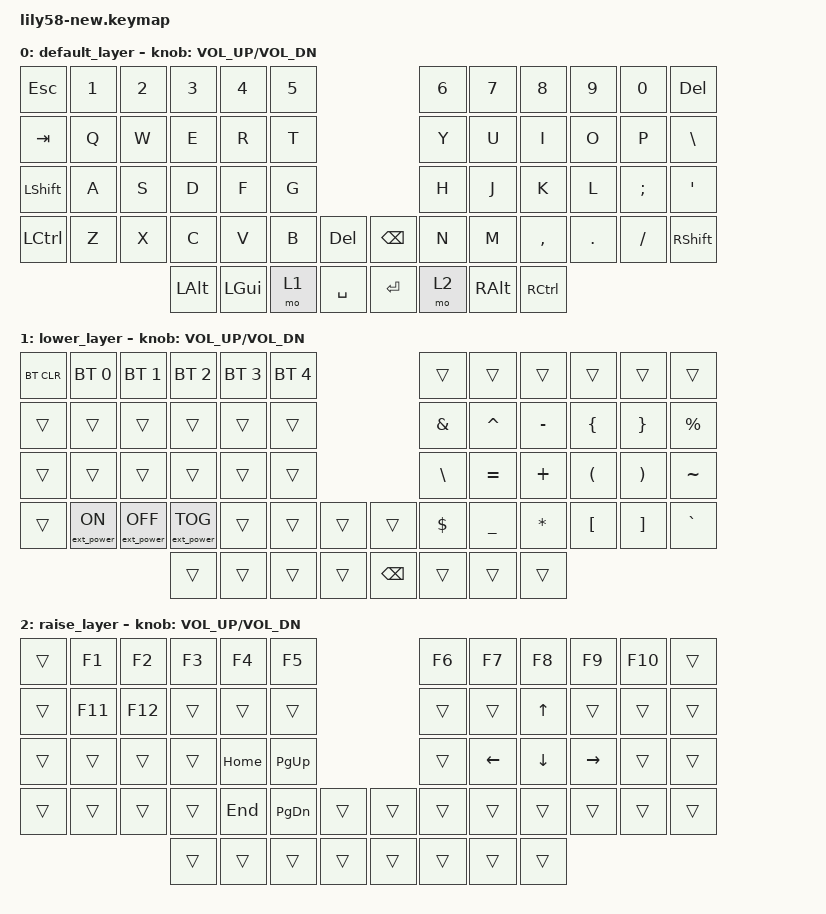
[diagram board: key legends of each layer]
/*
 * Copyright (c) 2020 The ZMK Contributors
 *
 * SPDX-License-Identifier: MIT
 */

#include <behaviors.dtsi>
#include <dt-bindings/zmk/keys.h>
#include <dt-bindings/zmk/bt.h>
#include <dt-bindings/zmk/ext_power.h>

/ {
    keymap {
        compatible = "zmk,keymap";

        default_layer {
// ------------------------------------------------------------------------------------------------------------
// |  ESC  |  1  |  2  |  3   |  4   |  5   |                   |  6   |  7    |  8    |  9   |   0   |   DEL   |
// |  TAB  |  Q  |  W  |  E   |  R   |  T   |                   |  Y   |  U    |  I    |  O   |   P   |   BSLH   |
// | SHIFT |  A  |  S  |  D   |  F   |  G   |                   |  H   |  J    |  K    |  L   |   ;   |   '   |
// | CTRL  |  Z  |  X  |  C   |  V   |  B   |  DEL   |  |  BSPC  |  N   |  M    |  ,    |  .   |   /   | SHIFT |
//                     | ALT  | GUI  | LOWER|  SPACE |  | ENTER | RAISE| RALT  | CTRL   |
            bindings = <
&kp ESC   &kp N1 &kp N2 &kp N3   &kp N4   &kp N5                     &kp N6 &kp N7   &kp N8    &kp N9  &kp N0   &kp DEL
&kp TAB   &kp Q  &kp W  &kp E    &kp R    &kp T                      &kp Y  &kp U    &kp I     &kp O   &kp P    &kp BSLH
&kp LSHFT &kp A  &kp S  &kp D    &kp F    &kp G                      &kp H  &kp J    &kp K     &kp L   &kp SEMI &kp SQT
&kp LCTRL &kp Z  &kp X  &kp C    &kp V    &kp B  &kp DEL &kp BSPC &kp N  &kp M    &kp COMMA &kp DOT &kp FSLH &kp RSHFT
                        &kp LALT &kp LGUI &mo 1  &kp SPACE  &kp RET  &mo 2  &kp RALT &kp RCTRL
            >;

            sensor-bindings = <&inc_dec_kp C_VOL_UP C_VOL_DN>;
        };

        lower_layer {
// ------------------------------------------------------------------------------------------------------------
// | BTCLR | BT1 | BT2 |  BT3 |  BT4 |  BT5 |                   |      |       |     |     |       |       |
// |       |     |     |      |      |      |                   |  &   |  ^    |  -  |  {  |   }   |   %   |
// |       |     |     |      |      |      |                   |  \   |  =    |  +  |  (  |   )   | TILDE |
// |       |     |     |      |      |      |        |  |       |  $   |  _    |  *  | "[" |  "]"  | GRAVE |
//                     |      |      |      |        |  |       |      |       |     |
            bindings = <
&bt BT_CLR &bt BT_SEL 0     &bt BT_SEL 1      &bt BT_SEL 2      &bt BT_SEL 3    &bt BT_SEL 4                 &trans     &trans    &trans    &trans    &trans    &trans  
&trans  &trans              &trans            &trans            &trans          &trans                       &kp AMPS   &kp CARET &kp MINUS &kp LBRC  &kp RBRC  &kp PRCNT
&trans  &trans              &trans            &trans            &trans          &trans                       &kp BSLH   &kp EQUAL &kp PLUS  &kp LPAR  &kp RPAR  &kp TILDE
&trans  &ext_power EP_ON    &ext_power EP_OFF &ext_power EP_TOG &trans          &trans    &trans   &trans    &kp DOLLAR &kp UNDER &kp ASTRK &kp LBKT  &kp RBKT  &kp GRAVE
                                              &trans            &trans          &trans    &trans   &kp BSPC  &trans     &trans    &trans
            >;

            sensor-bindings = <&inc_dec_kp C_VOL_UP C_VOL_DN>;
        };

        raise_layer {
// ------------------------------------------------------------------------------------------------------------
// |       |  F1 |  F2 |   F3 |   F4 |   F5 |                   |   F6 |    F7 |   F8  |   F9 |   F10 |        |
// |       |  F11|  F12|      |      |      |                   |      |       |   ^   |      |       |        |
// |       |     |     |      |  HOME|  PGUP|                   |      |   <-  |   v   |  ^   |       |        |
// |       |     |     |      |   END|  PGDN|        |  |       |      |       |       |      |       |        |
//                     |      |      |      |        |  |       |      |       |       |
            bindings = <
&trans    &kp F1    &kp F2      &kp F3      &kp F4    &kp F5                        &kp F6      &kp F7    &kp F8    &kp F9        &kp F10     &trans
&trans    &kp F11   &kp F12     &trans      &trans    &trans                        &trans      &trans    &kp UP    &trans        &trans      &trans
&trans    &trans    &trans      &trans      &kp HOME  &kp PG_UP                     &trans      &kp LEFT  &kp DOWN  &kp RIGHT     &trans      &trans
&trans    &trans    &trans      &trans      &kp END   &kp PG_DN   &trans   &trans   &trans      &trans    &trans    &trans        &trans      &trans
                        &trans  &trans  &trans    &trans   &trans    &trans       &trans    &trans
            >;

            sensor-bindings = <&inc_dec_kp C_VOL_UP C_VOL_DN>;
        };
    };
};
